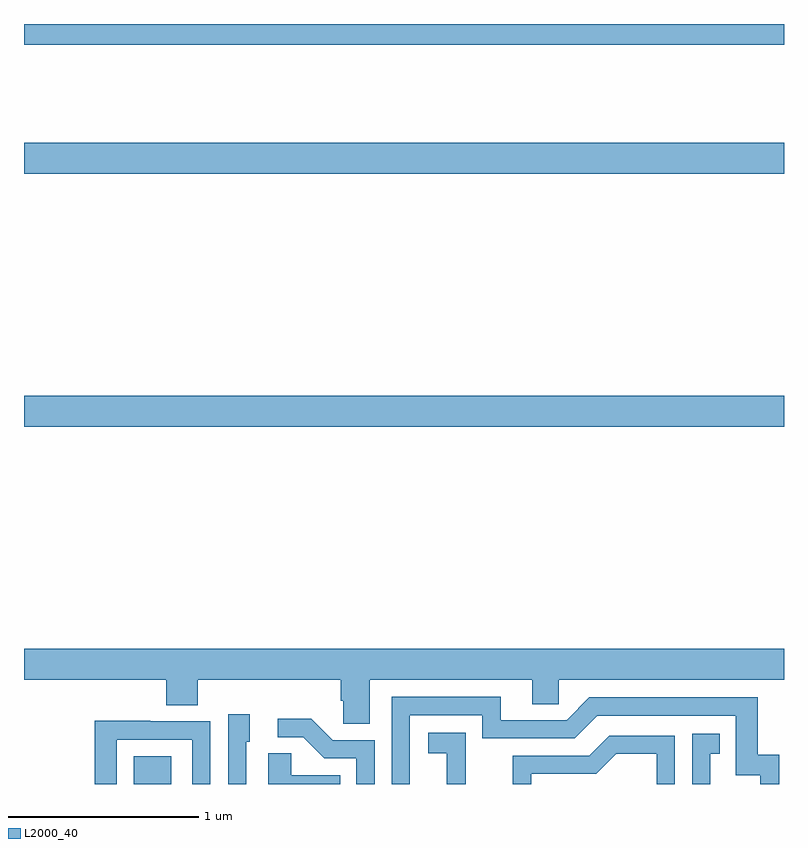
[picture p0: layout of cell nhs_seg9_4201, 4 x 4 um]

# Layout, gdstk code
import gdstk
lib = gdstk.Library(unit=1e-6, precision=1e-09)
def R(c, l, rs):  # rectangles x0, y0, x1, y1
    for r in rs: c.add(gdstk.rectangle(r[:2], r[2:], *l))
def P(c, l, *ps):  # polygons
    for p in ps: c.add(gdstk.Polygon(p, *l))
L2000_40 = (2000, 40)

nhs_seg9_4201 = lib.new_cell('nhs_seg9_4201')
R(nhs_seg9_4201, L2000_40, [(351.578,1234.5,351.775,1234.645), (351,1236.38,355,1236.544), (351,1237.712,355,1237.876), (351,1238.392,355,1238.5)])
P(nhs_seg9_4201, L2000_40, [(352.819,1235.048),(353.675,1235.048),(353.675,1234.921),(353.814,1234.921),(353.814,1235.048),(355,1235.048),(355,1235.212),(351,1235.212),(351,1235.048),(351.749,1235.048),(351.749,1234.915),(351.914,1234.915),(351.914,1235.048),(352.667,1235.048),(352.667,1234.939),(352.68,1234.939),(352.68,1234.816),(352.819,1234.816)],
  [(353.031,1234.863),(353.412,1234.863),(353.412,1234.74),(353.898,1234.74),(354.018,1234.86),(354.747,1234.86),(354.747,1234.545),(354.876,1234.545),(354.876,1234.5),(354.974,1234.5),(354.974,1234.654),(354.863,1234.654),(354.863,1234.956),(353.976,1234.956),(353.856,1234.836),(353.509,1234.836),(353.509,1234.959),(352.935,1234.959),(352.935,1234.5),(353.031,1234.5)],
  [(352.17,1234.722),(352.189,1234.722),(352.189,1234.867),(352.074,1234.867),(352.074,1234.5),(352.17,1234.5)],
  [(352.845,1234.731),(352.626,1234.731),(352.513,1234.844),(352.335,1234.844),(352.335,1234.746),(352.469,1234.746),(352.58,1234.635),(352.749,1234.635),(352.749,1234.5),(352.845,1234.5)],
  [(351.489,1234.734),(351.885,1234.734),(351.885,1234.5),(351.981,1234.5),(351.981,1234.83),(351.665,1234.83),(351.665,1234.832),(351.373,1234.832),(351.373,1234.5),(351.489,1234.5)],
  [(353.324,1234.565),(353.325,1234.565),(353.325,1234.771),(353.127,1234.771),(353.127,1234.661),(353.225,1234.661),(353.225,1234.5),(353.324,1234.5)],
  [(354.613,1234.659),(354.662,1234.659),(354.662,1234.765),(354.516,1234.765),(354.516,1234.5),(354.613,1234.5)],
  [(353.67,1234.554),(354.012,1234.554),(354.116,1234.658),(354.33,1234.658),(354.33,1234.5),(354.426,1234.5),(354.426,1234.755),(354.08,1234.755),(353.975,1234.65),(353.572,1234.65),(353.572,1234.5),(353.67,1234.5)],
  [(352.664,1234.546),(352.407,1234.546),(352.407,1234.661),(352.286,1234.661),(352.286,1234.5),(352.664,1234.5)])

lib.write_gds('nhs_seg9_4201.gds')
